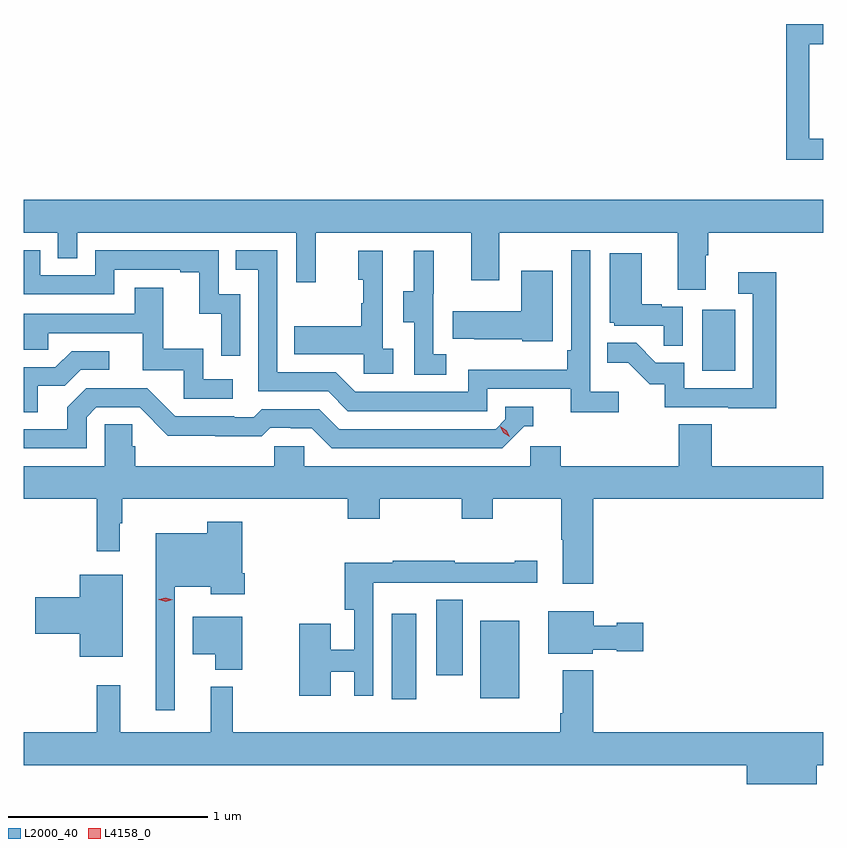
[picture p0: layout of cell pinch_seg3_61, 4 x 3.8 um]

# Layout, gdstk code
import gdstk
lib = gdstk.Library(unit=1e-6, precision=1e-09)
def R(c, l, rs):  # rectangles x0, y0, x1, y1
    for r in rs: c.add(gdstk.rectangle(r[:2], r[2:], *l))
def P(c, l, *ps):  # polygons
    for p in ps: c.add(gdstk.Polygon(p, *l))
L2000_40 = (2000, 40)
L4158_0 = (4158, 0)

pinch_seg3_61 = lib.new_cell('pinch_seg3_61')
R(pinch_seg3_61, L2000_40, [(1072.898,734.544,1073.02,734.974), (1073.342,734.549,1073.536,734.938), (1073.12,734.664,1073.254,735.044), (1074.452,736.188,1074.616,736.495)])
P(pinch_seg3_61, L2000_40, [(1075.057,737.349),(1074.987,737.349),(1074.987,737.823),(1075.057,737.823),(1075.057,737.924),(1074.871,737.924),(1074.871,737.244),(1075.057,737.244)],
  [(1074.469,736.768),(1074.482,736.768),(1074.482,736.88),(1075.057,736.88),(1075.057,737.044),(1071.057,737.044),(1071.057,736.88),(1071.228,736.88),(1071.228,736.753),(1071.324,736.753),(1071.324,736.88),(1072.419,736.88),(1072.419,736.632),(1072.517,736.632),(1072.517,736.88),(1073.297,736.88),(1073.297,736.641),(1073.437,736.641),(1073.437,736.88),(1074.329,736.88),(1074.329,736.594),(1074.469,736.594)],
  [(1074.034,736.084),(1073.892,736.084),(1073.892,736.792),(1073.796,736.792),(1073.796,736.291),(1073.776,736.291),(1073.776,736.195),(1073.28,736.195),(1073.28,736.083),(1072.716,736.083),(1072.617,736.182),(1072.326,736.182),(1072.326,736.791),(1072.117,736.791),(1072.117,736.695),(1072.23,736.695),(1072.23,736.086),(1072.58,736.086),(1072.679,735.987),(1073.376,735.987),(1073.376,736.098),(1073.795,736.098),(1073.795,735.982),(1074.034,735.982)],
  [(1072.14,736.572),(1072.032,736.572),(1072.032,736.791),(1071.414,736.791),(1071.414,736.668),(1071.138,736.668),(1071.138,736.791),(1071.057,736.791),(1071.057,736.572),(1071.51,736.572),(1071.51,736.695),(1071.839,736.695),(1071.839,736.683),(1071.935,736.683),(1071.935,736.475),(1072.044,736.475),(1072.044,736.263),(1072.14,736.263)],
  [(1073.17,736.271),(1073.106,736.271),(1073.106,736.575),(1073.108,736.575),(1073.108,736.789),(1073.009,736.789),(1073.009,736.587),(1072.955,736.587),(1072.955,736.432),(1073.01,736.432),(1073.01,736.168),(1073.17,736.168)],
  [(1072.906,736.298),(1072.854,736.298),(1072.854,736.789),(1072.73,736.789),(1072.73,736.644),(1072.756,736.644),(1072.756,736.526),(1072.746,736.526),(1072.746,736.411),(1072.411,736.411),(1072.411,736.271),(1072.758,736.271),(1072.758,736.173),(1072.906,736.173)],
  [(1074.354,736.509),(1074.248,736.509),(1074.248,736.522),(1074.148,736.522),(1074.148,736.777),(1073.99,736.777),(1073.99,736.428),(1074.012,736.428),(1074.012,736.413),(1074.259,736.413),(1074.259,736.315),(1074.354,736.315)],
  [(1073.704,736.69),(1073.546,736.69),(1073.546,736.486),(1073.203,736.486),(1073.203,736.349),(1073.311,736.349),(1073.311,736.346),(1073.55,736.346),(1073.55,736.337),(1073.704,736.337)],
  [(1074.821,736.681),(1074.633,736.681),(1074.633,736.575),(1074.705,736.575),(1074.705,736.101),(1074.363,736.101),(1074.363,736.23),(1074.219,736.23),(1074.121,736.328),(1073.977,736.328),(1073.977,736.229),(1074.081,736.229),(1074.188,736.122),(1074.265,736.122),(1074.265,736.005),(1074.583,736.005),(1074.583,736),(1074.821,736)],
  [(1072.102,736.146),(1071.954,736.146),(1071.954,736.3),(1071.755,736.3),(1071.755,736.603),(1071.611,736.603),(1071.611,736.473),(1071.057,736.473),(1071.057,736.293),(1071.179,736.293),(1071.179,736.377),(1071.653,736.377),(1071.653,736.191),(1071.858,736.191),(1071.858,736.05),(1072.102,736.05)],
  [(1071.127,736.114),(1071.262,736.114),(1071.342,736.194),(1071.484,736.194),(1071.484,736.287),(1071.296,736.287),(1071.215,736.206),(1071.057,736.206),(1071.057,735.982),(1071.127,735.982)],
  [(1071.372,735.957),(1071.42,736.005),(1071.636,736.005),(1071.778,735.863),(1072.014,735.863),(1072.014,735.861),(1072.247,735.861),(1072.289,735.903),(1072.392,735.903),(1072.392,735.9),(1072.499,735.9),(1072.598,735.801),(1073.451,735.801),(1073.562,735.912),(1073.605,735.912),(1073.605,736.008),(1073.466,736.008),(1073.466,735.945),(1073.418,735.897),(1072.635,735.897),(1072.536,735.996),(1072.247,735.996),(1072.208,735.957),(1072.109,735.957),(1072.109,735.96),(1071.816,735.96),(1071.675,736.101),(1071.369,736.101),(1071.275,736.007),(1071.275,735.897),(1071.057,735.897),(1071.057,735.801),(1071.372,735.801)],
  [(1073.906,735.548),(1075.057,735.548),(1075.057,735.712),(1074.5,735.712),(1074.5,735.92),(1074.335,735.92),(1074.335,735.712),(1073.744,735.712),(1073.744,735.81),(1073.592,735.81),(1073.592,735.712),(1072.461,735.712),(1072.461,735.81),(1072.311,735.81),(1072.311,735.712),(1071.614,735.712),(1071.614,735.81),(1071.599,735.81),(1071.599,735.92),(1071.462,735.92),(1071.462,735.712),(1071.057,735.712),(1071.057,735.548),(1071.421,735.548),(1071.421,735.285),(1071.538,735.285),(1071.538,735.425),(1071.55,735.425),(1071.55,735.548),(1072.679,735.548),(1072.679,735.449),(1072.839,735.449),(1072.839,735.548),(1073.248,735.548),(1073.248,735.449),(1073.403,735.449),(1073.403,735.548),(1073.746,735.548),(1073.746,735.344),(1073.753,735.344),(1073.753,735.123),(1073.906,735.123)],
  [(1071.813,735.107),(1071.992,735.107),(1071.992,735.071),(1072.163,735.071),(1072.163,735.175),(1072.15,735.175),(1072.15,735.433),(1071.975,735.433),(1071.975,735.376),(1071.716,735.376),(1071.716,734.49),(1071.813,734.49)],
  [(1072.594,734.682),(1072.71,734.682),(1072.71,734.562),(1072.806,734.562),(1072.806,735.128),(1073.016,735.128),(1073.016,735.129),(1073.35,735.129),(1073.35,735.128),(1073.626,735.128),(1073.626,735.238),(1073.513,735.238),(1073.513,735.228),(1073.213,735.228),(1073.213,735.238),(1072.903,735.238),(1072.903,735.228),(1072.664,735.228),(1072.664,734.993),(1072.71,734.993),(1072.71,734.792),(1072.594,734.792),(1072.594,734.923),(1072.436,734.923),(1072.436,734.562),(1072.594,734.562)],
  [(1071.553,735.169),(1071.338,735.169),(1071.338,735.056),(1071.114,735.056),(1071.114,734.873),(1071.338,734.873),(1071.338,734.759),(1071.553,734.759)],
  [(1073.904,734.792),(1074.024,734.792),(1074.024,734.785),(1074.157,734.785),(1074.157,734.927),(1074.024,734.927),(1074.024,734.914),(1073.908,734.914),(1073.908,734.986),(1073.681,734.986),(1073.681,734.774),(1073.904,734.774)],
  [(1072.15,734.959),(1071.902,734.959),(1071.902,734.771),(1072.016,734.771),(1072.016,734.693),(1072.15,734.693)],
  [(1075.024,734.216),(1075.057,734.216),(1075.057,734.38),(1073.906,734.38),(1073.906,734.689),(1073.753,734.689),(1073.753,734.476),(1073.741,734.476),(1073.741,734.38),(1072.102,734.38),(1072.102,734.608),(1071.992,734.608),(1071.992,734.38),(1071.539,734.38),(1071.539,734.614),(1071.421,734.614),(1071.421,734.38),(1071.057,734.38),(1071.057,734.216),(1074.674,734.216),(1074.674,734.121),(1075.024,734.121)])
P(pinch_seg3_61, L4158_0, [(1071.766,735.033),(1071.731,735.044),(1071.731,735.044),(1071.731,735.045),(1071.767,735.053),(1071.802,735.042),(1071.802,735.042),(1071.802,735.042)],
  [(1073.489,735.858),(1073.457,735.878),(1073.441,735.91),(1073.441,735.91),(1073.441,735.91),(1073.472,735.891),(1073.489,735.859),(1073.489,735.858)])

lib.write_gds('pinch_seg3_61.gds')
